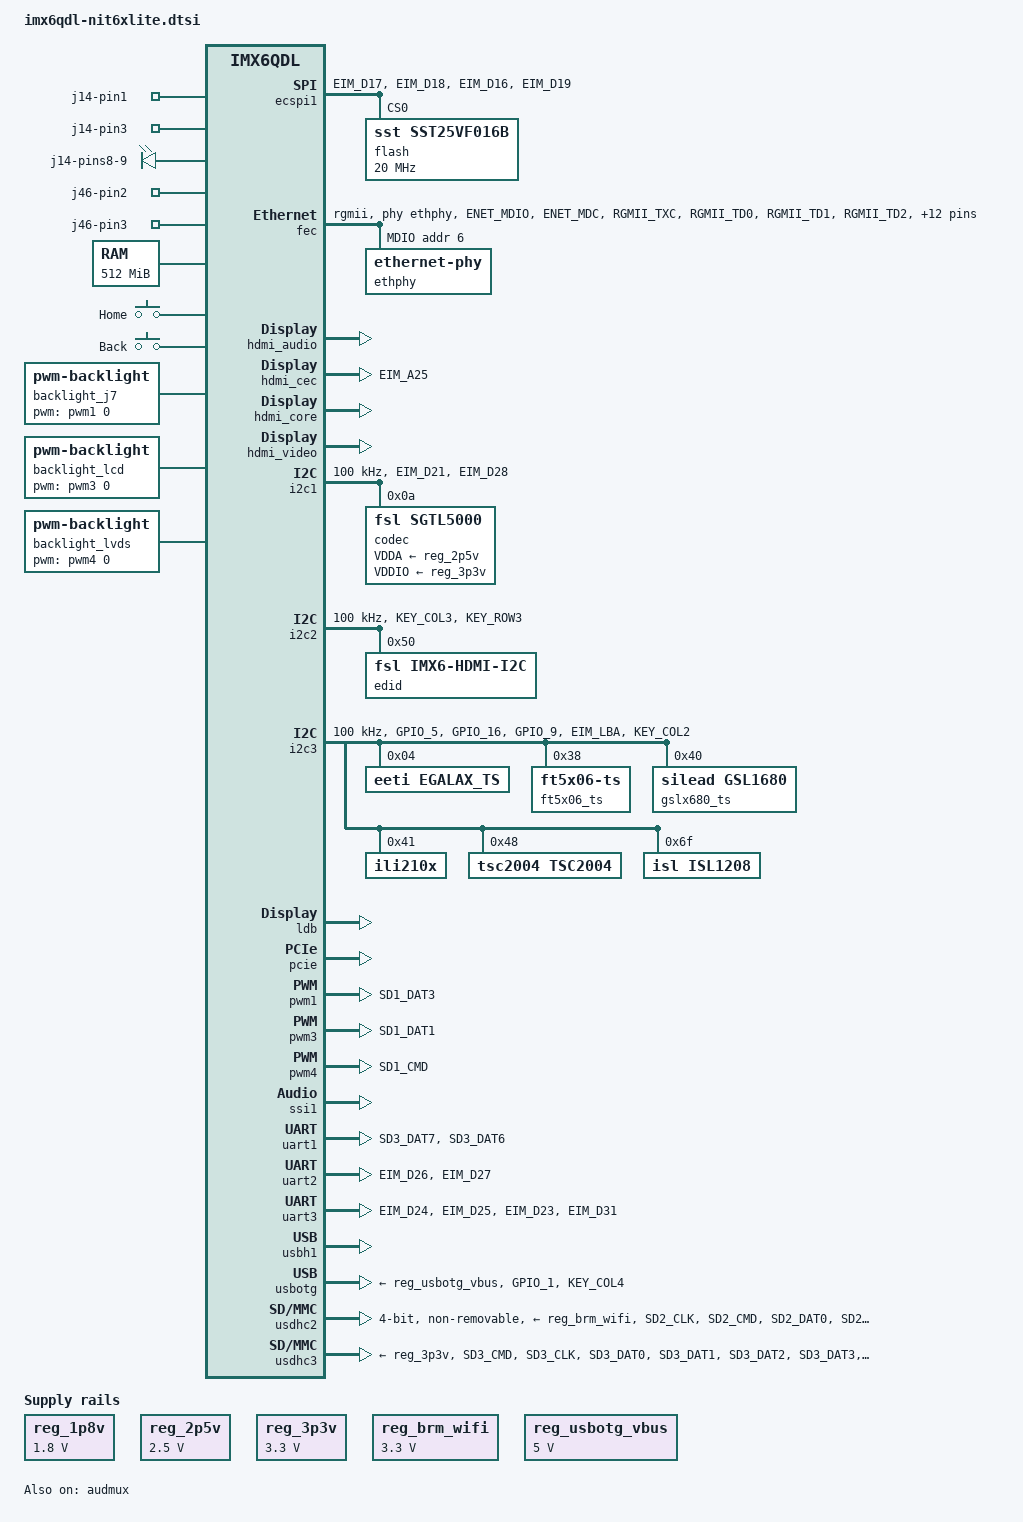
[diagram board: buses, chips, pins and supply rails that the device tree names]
/*
 * Copyright 2015 Boundary Devices, Inc.
 *
 * This file is dual-licensed: you can use it either under the terms
 * of the GPL or the X11 license, at your option. Note that this dual
 * licensing only applies to this file, and not this project as a
 * whole.
 *
 *  a) This file is free software; you can redistribute it and/or
 *     modify it under the terms of the GNU General Public License
 *     version 2 as published by the Free Software Foundation.
 *
 *     This file is distributed in the hope that it will be useful
 *     but WITHOUT ANY WARRANTY; without even the implied warranty of
 *     MERCHANTABILITY or FITNESS FOR A PARTICULAR PURPOSE.  See the
 *     GNU General Public License for more details.
 *
 * Or, alternatively
 *
 *  b) Permission is hereby granted, free of charge, to any person
 *     obtaining a copy of this software and associated documentation
 *     files (the "Software"), to deal in the Software without
 *     restriction, including without limitation the rights to use
 *     copy, modify, merge, publish, distribute, sublicense, and/or
 *     sell copies of the Software, and to permit persons to whom the
 *     Software is furnished to do so, subject to the following
 *     conditions:
 *
 *     The above copyright notice and this permission notice shall be
 *     included in all copies or substantial portions of the Software.
 *
 *     THE SOFTWARE IS PROVIDED , WITHOUT WARRANTY OF ANY KIND
 *     EXPRESS OR IMPLIED, INCLUDING BUT NOT LIMITED TO THE WARRANTIES
 *     OF MERCHANTABILITY, FITNESS FOR A PARTICULAR PURPOSE AND
 *     NONINFRINGEMENT. IN NO EVENT SHALL THE AUTHORS OR COPYRIGHT
 *     HOLDERS BE LIABLE FOR ANY CLAIM, DAMAGES OR OTHER LIABILITY
 *     WHETHER IN AN ACTION OF CONTRACT, TORT OR OTHERWISE, ARISING
 *     FROM, OUT OF OR IN CONNECTION WITH THE SOFTWARE OR THE USE OR
 *     OTHER DEALINGS IN THE SOFTWARE.
 */
#include <dt-bindings/gpio/gpio.h>
#include <dt-bindings/input/input.h>

&iomuxc {
	pinctrl-names = "default";
	pinctrl-0 = <&pinctrl_hog>;

	iomuxc_imx6q_nit6xlite: iomuxc-imx6q-nit6xlitegrp {
		status = "okay";
	};
};

&iomuxc_imx6q_nit6xlite {
	pinctrl_hog: hoggrp {
		fsl,pins = <
			MX6QDL_PAD_GPIO_4__GPIO1_IO04		0x1b0b0		/* J28 pin 7 - barcode scanner gpio */
		>;
	};

	pinctrl_audmux3: audmux3grp {
		fsl,pins = <
			MX6QDL_PAD_CSI0_DAT7__AUD3_RXD		0x130b0
			MX6QDL_PAD_CSI0_DAT4__AUD3_TXC		0x130b0
			MX6QDL_PAD_CSI0_DAT5__AUD3_TXD		0x110b0
			MX6QDL_PAD_CSI0_DAT6__AUD3_TXFS		0x130b0
		>;
	};

	pinctrl_bt_rfkill: bt_rfkillgrp {
		fsl,pins = <
#define GP_BRM_BT_WAKE		<&gpio2 2 GPIO_ACTIVE_HIGH>
			MX6QDL_PAD_NANDF_D2__GPIO2_IO02		0x1b0b0		/* BT wake(Broadcom) */
#define GP_BRM_BT_RESET		<&gpio6 8 GPIO_ACTIVE_LOW>
			MX6QDL_PAD_NANDF_ALE__GPIO6_IO08	0x0b0b0		/* BT reset(Broadcom) */
#define GP_BRM_BT_SHUTDOWN	<&gpio6 15 GPIO_ACTIVE_LOW>
			MX6QDL_PAD_NANDF_CS2__GPIO6_IO15	0x1b0b0		/* BT reg en(Broadcom) */
			MX6QDL_PAD_NANDF_CS3__GPIO6_IO16	0x100b0		/* BT host wake irq(Broadcom) */
		>;
	};

	pinctrl_ecspi1: ecspi1grp {
		fsl,pins = <
			MX6QDL_PAD_EIM_D17__ECSPI1_MISO		0x100b1
			MX6QDL_PAD_EIM_D18__ECSPI1_MOSI		0x100b1
			MX6QDL_PAD_EIM_D16__ECSPI1_SCLK		0x100b1
#define GP_ECSPI1_NOR_CS		<&gpio3 19 GPIO_ACTIVE_LOW>
			MX6QDL_PAD_EIM_D19__GPIO3_IO19		0x000b1
		>;
	};

	pinctrl_enet: enetgrp {
		fsl,pins = <
			MX6QDL_PAD_ENET_MDIO__ENET_MDIO		0x1b0b0
			MX6QDL_PAD_ENET_MDC__ENET_MDC		0x1b0b0
			MX6QDL_PAD_RGMII_TXC__RGMII_TXC		0x100b0
			MX6QDL_PAD_RGMII_TD0__RGMII_TD0		0x100b0
			MX6QDL_PAD_RGMII_TD1__RGMII_TD1		0x100b0
			MX6QDL_PAD_RGMII_TD2__RGMII_TD2		0x100b0
			MX6QDL_PAD_RGMII_TD3__RGMII_TD3		0x100b0
			MX6QDL_PAD_RGMII_TX_CTL__RGMII_TX_CTL	0x100b0
			MX6QDL_PAD_ENET_REF_CLK__ENET_TX_CLK	0x100b0
			MX6QDL_PAD_RGMII_RXC__RGMII_RXC		0x1b0b0
			MX6QDL_PAD_RGMII_RD0__RGMII_RD0		0x1b0b0
			MX6QDL_PAD_RGMII_RD1__RGMII_RD1		0x1b0b0
			MX6QDL_PAD_RGMII_RD2__RGMII_RD2		0x1b0b0
			MX6QDL_PAD_RGMII_RD3__RGMII_RD3		0x1b0b0
			MX6QDL_PAD_RGMII_RX_CTL__RGMII_RX_CTL	0x1b0b0
#define GP_ENET_PHY_RESET		<&gpio1 27 GPIO_ACTIVE_LOW>
			MX6QDL_PAD_ENET_RXD0__GPIO1_IO27	0x030b0
#define GPIRQ_ENET_PHY			<&gpio1 28 IRQ_TYPE_LEVEL_LOW>
			MX6QDL_PAD_ENET_TX_EN__GPIO1_IO28	0x1b0b0
#define GPIRQ_ENET			<&gpio1 6 IRQ_TYPE_LEVEL_HIGH>
			MX6QDL_PAD_GPIO_6__ENET_IRQ		0x000b1
		>;
	};

	pinctrl_gpio_keys: gpio_keysgrp {
		fsl,pins = <
#define GP_HOME				<&gpio7 13 IRQ_TYPE_LEVEL_LOW>
			MX6QDL_PAD_GPIO_18__GPIO7_IO13		0x1b0b0		/* J14 pin 5 - home button */
#define GP_BACK				<&gpio4 5 IRQ_TYPE_LEVEL_LOW>
			MX6QDL_PAD_GPIO_19__GPIO4_IO05		0x1b0b0		/* J14 pin 7 - back button */
		>;
	};

	pinctrl_hdmi_cec: hdmi-cecgrp {
		fsl,pins = <
			MX6QDL_PAD_EIM_A25__HDMI_TX_CEC_LINE	0x1f8b0
		>;
	};

	pinctrl_i2c1: i2c1grp {
		fsl,pins = <
			MX6QDL_PAD_EIM_D21__I2C1_SCL		0x4001b8b1
			MX6QDL_PAD_EIM_D28__I2C1_SDA		0x4001b8b1
		>;
	};

	pinctrl_i2c1_1: i2c1_1grp {
		fsl,pins = <
#define GP_I2C1_SCL	<&gpio3 21 GPIO_ACTIVE_HIGH>
			MX6QDL_PAD_EIM_D21__GPIO3_IO21		0x4001b8b1
#define GP_I2C1_SDA	<&gpio3 28 GPIO_ACTIVE_HIGH>
			MX6QDL_PAD_EIM_D28__GPIO3_IO28		0x4001b8b1
		>;
	};

	pinctrl_i2c2: i2c2grp {
		fsl,pins = <
			MX6QDL_PAD_KEY_COL3__I2C2_SCL		0x4001b8b1
			MX6QDL_PAD_KEY_ROW3__I2C2_SDA		0x4001b8b1
		>;
	};

	pinctrl_i2c2_1: i2c2_1grp {
		fsl,pins = <
#define GP_I2C2_SCL	<&gpio4 12 GPIO_ACTIVE_HIGH>
			MX6QDL_PAD_KEY_COL3__GPIO4_IO12		0x4001b8b1
#define GP_I2C2_SDA	<&gpio4 13 GPIO_ACTIVE_HIGH>
			MX6QDL_PAD_KEY_ROW3__GPIO4_IO13		0x4001b8b1
		>;
	};

	pinctrl_i2c3: i2c3grp {
		fsl,pins = <
			MX6QDL_PAD_GPIO_5__I2C3_SCL		0x4001b8b1
			MX6QDL_PAD_GPIO_16__I2C3_SDA		0x4001b8b1
#define GPIRQ_TOUCH			<&gpio1 9 IRQ_TYPE_LEVEL_LOW>
#define GP_TOUCH			<&gpio1 9 GPIO_ACTIVE_LOW>
			MX6QDL_PAD_GPIO_9__GPIO1_IO09		0x1b0b0		/* J7 pin 4 - I2C3 */
#define GPIRQ_TSC2004			<&gpio2 27 IRQ_TYPE_LEVEL_LOW>
#define GP_TSC2004			<&gpio2 27 GPIO_ACTIVE_LOW>
			MX6QDL_PAD_EIM_LBA__GPIO2_IO27		0x1b0b0		/* tsc2004(I2C3) irq */
#define GP_TSC2004_RESET		<&gpio4 10 GPIO_ACTIVE_LOW>
			MX6QDL_PAD_KEY_COL2__GPIO4_IO10		0x030b0
		>;
	};

	pinctrl_i2c3_1: i2c3_1grp {
		fsl,pins = <
#define GP_I2C3_SCL	<&gpio1 5 GPIO_ACTIVE_HIGH>
			MX6QDL_PAD_GPIO_5__GPIO1_IO05		0x4001b8b1
#define GP_I2C3_SDA	<&gpio7 11 GPIO_ACTIVE_HIGH>
			MX6QDL_PAD_GPIO_16__GPIO7_IO11		0x4001b8b1
		>;
	};

	pinctrl_i2c3_gslx680: i2c3_gslx680grp {
		fsl,pins = <
#define GPIRQ_GSLX680			<&gpio1 9 IRQ_TYPE_LEVEL_HIGH>
/*			MX6QDL_PAD_GPIO_9__GPIO1_IO09		0x130b0		*/
#define GP_GSLX680_POWER		<&gpio7 12 GPIO_ACTIVE_HIGH>
			MX6QDL_PAD_GPIO_17__GPIO7_IO12		0x1b0b0
		>;
	};

	pinctrl_ipu1_di0: ipu1_di0grp {
		fsl,pins = <
			MX6QDL_PAD_DI0_DISP_CLK__IPU1_DI0_DISP_CLK 0x10
			MX6QDL_PAD_DI0_PIN15__IPU1_DI0_PIN15       0x10		/* DRDY */
			MX6QDL_PAD_DI0_PIN2__IPU1_DI0_PIN02        0x10		/* HSYNC */
			MX6QDL_PAD_DI0_PIN3__IPU1_DI0_PIN03        0x10		/* VSYNC */
			MX6QDL_PAD_DISP0_DAT0__IPU1_DISP0_DATA00   0x10
			MX6QDL_PAD_DISP0_DAT1__IPU1_DISP0_DATA01   0x10
			MX6QDL_PAD_DISP0_DAT2__IPU1_DISP0_DATA02   0x10
			MX6QDL_PAD_DISP0_DAT3__IPU1_DISP0_DATA03   0x10
			MX6QDL_PAD_DISP0_DAT4__IPU1_DISP0_DATA04   0x10
			MX6QDL_PAD_DISP0_DAT5__IPU1_DISP0_DATA05   0x10
			MX6QDL_PAD_DISP0_DAT6__IPU1_DISP0_DATA06   0x10
			MX6QDL_PAD_DISP0_DAT7__IPU1_DISP0_DATA07   0x10
			MX6QDL_PAD_DISP0_DAT8__IPU1_DISP0_DATA08   0x10
			MX6QDL_PAD_DISP0_DAT9__IPU1_DISP0_DATA09   0x10
			MX6QDL_PAD_DISP0_DAT10__IPU1_DISP0_DATA10  0x10
			MX6QDL_PAD_DISP0_DAT11__IPU1_DISP0_DATA11  0x10
			MX6QDL_PAD_DISP0_DAT12__IPU1_DISP0_DATA12  0x10
			MX6QDL_PAD_DISP0_DAT13__IPU1_DISP0_DATA13  0x10
			MX6QDL_PAD_DISP0_DAT14__IPU1_DISP0_DATA14  0x10
			MX6QDL_PAD_DISP0_DAT15__IPU1_DISP0_DATA15  0x10
			MX6QDL_PAD_DISP0_DAT16__IPU1_DISP0_DATA16  0x10
			MX6QDL_PAD_DISP0_DAT17__IPU1_DISP0_DATA17  0x10
			MX6QDL_PAD_DISP0_DAT18__IPU1_DISP0_DATA18  0x10
			MX6QDL_PAD_DISP0_DAT19__IPU1_DISP0_DATA19  0x10
			MX6QDL_PAD_DISP0_DAT20__IPU1_DISP0_DATA20  0x10
			MX6QDL_PAD_DISP0_DAT21__IPU1_DISP0_DATA21  0x10
			MX6QDL_PAD_DISP0_DAT22__IPU1_DISP0_DATA22  0x10
			MX6QDL_PAD_DISP0_DAT23__IPU1_DISP0_DATA23  0x10
		>;
	};

	pinctrl_ipu1_lvds: ipu1_lvdsgrp {
		fsl,pins = <
			MX6QDL_PAD_GPIO_17__GPIO7_IO12		0x1b0b0		/* J6 pin 19, DISP0_CONTRAST */
		>;
	};

	pinctrl_leds: ledsgrp {
		fsl,pins = <
#define GP_LED_GREEN			<&gpio1 2 GPIO_ACTIVE_LOW>
			MX6QDL_PAD_GPIO_2__GPIO1_IO02		0x0b0b0		/* J14 pin 1 - GLED */
#define GP_LED_RED			<&gpio1 3 GPIO_ACTIVE_LOW>
			MX6QDL_PAD_GPIO_3__GPIO1_IO03		0x0b0b0		/* J14 pin 3 - RLED */
#define GP_J14_POWER_ON			<&gpio3 29 GPIO_ACTIVE_LOW>
			MX6QDL_PAD_EIM_D29__GPIO3_IO29		0x030b0		/* J14 pin 8/9(dry contact) */
#define GP_J46_PIN2_I			<&gpio1 7 GPIO_ACTIVE_LOW>
			MX6QDL_PAD_GPIO_7__GPIO1_IO07		0x0b0b0		/* J46 pin 2 - gp(inverted) */
#define GP_J46_PIN3_I			<&gpio1 8 GPIO_ACTIVE_LOW>
			MX6QDL_PAD_GPIO_8__GPIO1_IO08		0x0b0b0		/* J46 pin 3 - gp(inverted) */
		>;
	};

	pinctrl_pwm1: pwm1grp {
		fsl,pins = <
			MX6QDL_PAD_SD1_DAT3__PWM1_OUT		0x1b0b1
		>;
	};

	pinctrl_pwm3: pwm3grp {
		fsl,pins = <
			MX6QDL_PAD_SD1_DAT1__PWM3_OUT		0x1b0b1
		>;
	};

	pinctrl_pwm4: pwm4grp {
		fsl,pins = <
			MX6QDL_PAD_SD1_CMD__PWM4_OUT		0x1b0b1
		>;
	};

	pinctrl_reg_brm_wifi: reg_brm_wifigrp {
		fsl,pins = <
#define GP_BRM_WL_EN		<&gpio6 7 GPIO_ACTIVE_HIGH>
			MX6QDL_PAD_NANDF_CLE__GPIO6_IO07	0x030b0		/* Wifi reg en(Broadcom) */
			MX6QDL_PAD_NANDF_D0__GPIO2_IO00		0x1b0b0		/* J10 pin 14 - Reserved(Broadcom) */
			MX6QDL_PAD_NANDF_D1__GPIO2_IO01		0x1b0b0		/* J10 pin 15 - Reserved(Broadcom) */
			MX6QDL_PAD_NANDF_D3__GPIO2_IO03		0x1b0b0		/* J10 pin 17 - Reserved(Broadcom) */
			MX6QDL_PAD_NANDF_D4__GPIO2_IO04		0x1b0b0		/* J10 pin 18 - Reserved(Broadcom) */
			MX6QDL_PAD_NANDF_WP_B__GPIO6_IO09	0x0b0b0		/* Clk req irq(Broadcom) */
			MX6QDL_PAD_NANDF_CS1__GPIO6_IO14	0x1b0b0		/* wake output(Broadcom) */
			MX6QDL_PAD_SD1_CLK__OSC32K_32K_OUT	0x000b0		/* Broadcom slow clock */
		>;
	};

	pinctrl_rtc: rtcgrp {
		fsl,pins = <
#define GPIRQ_RTC_ISL1208			<&gpio2 26 IRQ_TYPE_LEVEL_LOW>
			MX6QDL_PAD_EIM_RW__GPIO2_IO26		0x1b0b0
		>;
	};

	pinctrl_sgtl5000: sgtl5000grp {
		fsl,pins = <
			MX6QDL_PAD_GPIO_0__CCM_CLKO1		0x000b0		/* sys_mclk */
		>;
	};

	pinctrl_uart1: uart1grp {
		fsl,pins = <
			MX6QDL_PAD_SD3_DAT7__UART1_TX_DATA	0x1b0b1
			MX6QDL_PAD_SD3_DAT6__UART1_RX_DATA	0x1b0b1
		>;
	};

	pinctrl_uart2: uart2grp {
		fsl,pins = <
			MX6QDL_PAD_EIM_D26__UART2_TX_DATA	0x1b0b1
			MX6QDL_PAD_EIM_D27__UART2_RX_DATA	0x1b0b1
		>;
	};

	pinctrl_uart3: uart3grp {
		fsl,pins = <
			MX6QDL_PAD_EIM_D24__UART3_TX_DATA	0x1b0b1
			MX6QDL_PAD_EIM_D25__UART3_RX_DATA	0x1b0b1
			MX6QDL_PAD_EIM_D23__UART3_CTS_B		0x1b0b1
			MX6QDL_PAD_EIM_D31__UART3_RTS_B		0x1b0b1
		>;
	};

	pinctrl_usbotg: usbotggrp {
		fsl,pins = <
			MX6QDL_PAD_GPIO_1__USB_OTG_ID		0x17059
			MX6QDL_PAD_KEY_COL4__USB_OTG_OC		0x1b0b0
		>;
	};

	pinctrl_usbotg_vbus: usbotg_vbusgrp {
		fsl,pins = <
			/* power enable, high active */
#define GP_USB_OTG_PWR		<&gpio3 22 GPIO_ACTIVE_HIGH>
			MX6QDL_PAD_EIM_D22__GPIO3_IO22		0x030b0
		>;
	};

	pinctrl_usdhc2_50mhz: usdhc2_50mhzgrp {
		fsl,pins = <
			MX6QDL_PAD_SD2_CLK__SD2_CLK		0x10071
			MX6QDL_PAD_SD2_CMD__SD2_CMD		0x17071
			MX6QDL_PAD_SD2_DAT0__SD2_DATA0		0x17071
			MX6QDL_PAD_SD2_DAT1__SD2_DATA1		0x17071
			MX6QDL_PAD_SD2_DAT2__SD2_DATA2		0x17071
			MX6QDL_PAD_SD2_DAT3__SD2_DATA3		0x17071
		>;
	};

	/* USDHC3 - micro sd */
	pinctrl_usdhc3_50mhz: usdhc3_50mhzgrp {
		fsl,pins = <
			MX6QDL_PAD_SD3_CMD__SD3_CMD		0x17059
			MX6QDL_PAD_SD3_CLK__SD3_CLK		0x10059
			MX6QDL_PAD_SD3_DAT0__SD3_DATA0		0x17059
			MX6QDL_PAD_SD3_DAT1__SD3_DATA1		0x17059
			MX6QDL_PAD_SD3_DAT2__SD3_DATA2		0x17059
			MX6QDL_PAD_SD3_DAT3__SD3_DATA3		0x17059
#define GP_SD3_CD			<&gpio7 0 GPIO_ACTIVE_LOW>
			MX6QDL_PAD_SD3_DAT5__GPIO7_IO00		0x1b0b0
		>;
	};

	pinctrl_usdhc3_100mhz: usdhc3_100mhzgrp {
		fsl,pins = <
			MX6QDL_PAD_SD3_CLK__SD3_CLK		0x100b9
			MX6QDL_PAD_SD3_CMD__SD3_CMD		0x170b9
			MX6QDL_PAD_SD3_DAT0__SD3_DATA0		0x170b9
			MX6QDL_PAD_SD3_DAT1__SD3_DATA1		0x170b9
			MX6QDL_PAD_SD3_DAT2__SD3_DATA2		0x170b9
			MX6QDL_PAD_SD3_DAT3__SD3_DATA3		0x170b9
		>;
	};

	pinctrl_usdhc3_200mhz: usdhc3_200mhzgrp {
		fsl,pins = <
			MX6QDL_PAD_SD3_CLK__SD3_CLK		0x100f9
			MX6QDL_PAD_SD3_CMD__SD3_CMD		0x170f9
			MX6QDL_PAD_SD3_DAT0__SD3_DATA0		0x170f9
			MX6QDL_PAD_SD3_DAT1__SD3_DATA1		0x170f9
			MX6QDL_PAD_SD3_DAT2__SD3_DATA2		0x170f9
			MX6QDL_PAD_SD3_DAT3__SD3_DATA3		0x170f9
		>;
	};
};

/ {
	aliases {
		backlight_lcd = &backlight_lcd;
		backlight_lvds = &backlight_lvds;
		fb_hdmi = &fb_hdmi;
		fb_lcd = &fb_lcd;
		fb_lvds = &fb_lvds;
		lcd = &lcd;
		ldb = &ldb;
		mmc0 = &usdhc3;
		mmc1 = &usdhc2;
		mxcfb0 = &fb_lvds;
		mxcfb1 = &fb_lcd;
		mxcfb2 = &fb_hdmi;
		pwm_lcd = &pwm3;
		pwm_lvds = &pwm4;
		t_lvds = &t_lvds;
	};

	bt_rfkill {
		compatible = "net,rfkill-gpio";
		pinctrl-names = "default";
		pinctrl-0 = <&pinctrl_bt_rfkill>;
		name = "bt_rfkill";
		type = <2>;     /* bluetooth */
		reset-gpios = GP_BRM_BT_RESET;
		shutdown-gpios = GP_BRM_BT_SHUTDOWN;
	};

	leds {
		compatible = "gpio-leds";
		pinctrl-names = "default";
		pinctrl-0 = <&pinctrl_leds>;
		j14-pin1 {
			gpios = GP_LED_GREEN;
			retain-state-suspended;
			default-state = "off";
		};

		j14-pin3 {
			gpios = GP_LED_RED;
			retain-state-suspended;
			default-state = "off";
		};

		j14-pins8-9 {
			gpios = GP_J14_POWER_ON;
			retain-state-suspended;
			default-state = "off";
		};

		j46-pin2 {
			gpios = GP_J46_PIN2_I;
			retain-state-suspended;
			default-state = "off";
		};

		j46-pin3 {
			gpios = GP_J46_PIN3_I;
			retain-state-suspended;
			default-state = "off";
		};
	};

	memory {
		reg = <0x10000000 0x20000000>;
	};

	regulators {
		compatible = "simple-bus";
		#address-cells = <1>;
		#size-cells = <0>;

		reg_1p8v: regulator@0 {
			compatible = "regulator-fixed";
			reg = <0>;
			regulator-name = "1P8V";
			regulator-min-microvolt = <1800000>;
			regulator-max-microvolt = <1800000>;
			regulator-always-on;
		};

		reg_2p5v: regulator@1 {
			compatible = "regulator-fixed";
			reg = <1>;
			regulator-name = "2P5V";
			regulator-min-microvolt = <2500000>;
			regulator-max-microvolt = <2500000>;
			regulator-always-on;
		};

		reg_3p3v: regulator@2 {
			compatible = "regulator-fixed";
			reg = <2>;
			regulator-name = "3P3V";
			regulator-min-microvolt = <3300000>;
			regulator-max-microvolt = <3300000>;
			regulator-always-on;
		};

		reg_brm_wifi: regulator@3 {
			compatible = "regulator-fixed";
			reg = <3>;
			pinctrl-names = "default";
			pinctrl-0 = <&pinctrl_reg_brm_wifi>;
			regulator-name = "reg_brm_wifi";
			regulator-min-microvolt = <3300000>;
			regulator-max-microvolt = <3300000>;
			gpio = GP_BRM_WL_EN;
			startup-delay-us = <70000>;
			enable-active-high;
		};

		reg_usbotg_vbus: regulator@4 {
			compatible = "regulator-fixed";
			reg = <4>;
			pinctrl-names = "default";
			pinctrl-0 = <&pinctrl_usbotg_vbus>;
			regulator-name = "usbotg_vbus";
			regulator-min-microvolt = <5000000>;
			regulator-max-microvolt = <5000000>;
			gpio = GP_USB_OTG_PWR;
			enable-active-high;
		};
	};

	gpio-keys {
		compatible = "gpio-keys";
		pinctrl-names = "default";
		pinctrl-0 = <&pinctrl_gpio_keys>;
		home {
			label = "Home";
			gpios = GP_HOME;
			linux,code = <KEY_HOMEPAGE>;
		};

		back {
			label = "Back";
			gpios = GP_BACK;
			linux,code = <KEY_BACK>;
		};
	};

	sound_sgtl5000: sound_sgtl5000 {
		compatible = "fsl,imx6dl-nit6xlite-sgtl5000",
			     "fsl,imx-audio-sgtl5000";
		model = "sgtl5000-audio";
		ssi-controller = <&ssi1>;
		audio-codec = <&codec>;
		audio-routing =
			"MIC_IN", "Mic Jack",
			"Mic Jack", "Mic Bias",
			"Headphone Jack", "HP_OUT";
		mux-int-port = <1>;
		mux-ext-port = <3>;
	};

	sound-hdmi {
		compatible = "fsl,imx6dl-audio-hdmi",
			     "fsl,imx-audio-hdmi";
		model = "imx-audio-hdmi";
		hdmi-controller = <&hdmi_audio>;
	};

	fb_lvds: fb@0 {
		compatible = "fsl,mxc_sdc_fb";
		disp_dev = "ldb";
		interface_pix_fmt = "RGB666";
		default_bpp = <16>;
		int_clk = <0>;
		late_init = <0>;
		status = "disabled";
	};

	fb_lcd: fb@1 {
		compatible = "fsl,mxc_sdc_fb";
		disp_dev = "lcd";
		interface_pix_fmt = "RGB24";
		mode_str = "okaya_480x272";
		default_bpp = <16>;
		int_clk = <0>;
		late_init = <0>;
		status = "disabled";
	};

	fb_hdmi: fb@2 {
		compatible = "fsl,mxc_sdc_fb";
		disp_dev = "hdmi";
		interface_pix_fmt = "RGB24";
		mode_str ="1280x720M@60";
		default_bpp = <32>;
		int_clk = <0>;
		late_init = <0>;
		status = "disabled";
	};

	lcd: lcd@0 {
		compatible = "fsl,lcd";
		ipu_id = <0>;
		disp_id = <0>;
		default_ifmt = "RGB24";
		pinctrl-names = "default";
		pinctrl-0 = <&pinctrl_ipu1_di0>;
		status = "okay";
	};

	backlight_j7 {
		brightness-levels = <0 10 20 30 40 50 60 70 80 90 100>;
		compatible = "pwm-backlight";
		default-brightness-level = <10>;
		pwms = <&pwm1 0 100000>;
	};

	backlight_lcd: backlight_lcd {
		brightness-levels = <0 10 20 30 40 50 60 70 80 90 100>;
		compatible = "pwm-backlight";
		default-brightness-level = <10>;
		display = <&fb_lcd>;
		pwms = <&pwm3 0 5000000>;
	};

	backlight_lvds: backlight_lvds {
		brightness-levels = <0 10 20 30 40 50 60 70 80 90 100>;
		compatible = "pwm-backlight";
		default-brightness-level = <10>;
		display = <&fb_lvds>;
		pwms = <&pwm4 0 5000000>;
	};

	v4l2_out {
		compatible = "fsl,mxc_v4l2_output";
		status = "okay";
	};
};

&audmux {
	pinctrl-names = "default";
	pinctrl-0 = <&pinctrl_audmux3>;
	status = "okay";
};

&ecspi1 {
	fsl,spi-num-chipselects = <1>;
	cs-gpios = GP_ECSPI1_NOR_CS;
	pinctrl-names = "default";
	pinctrl-0 = <&pinctrl_ecspi1>;
	status = "okay";

	flash: m25p80@0 {
		compatible = "sst,sst25vf016b";
		spi-max-frequency = <20000000>;
		reg = <0>;
		#address-cells = <1>;
		#size-cells = <1>;
		mtd@00000000 {
			label = "U-Boot";
			reg = <0x0 0xC0000>;
		};

		mtd@000C0000 {
			label = "env";
			reg = <0xC0000 0x2000>;
		};
		mtd@000C2000 {
			label = "splash";
			reg = <0xC2000 0x13e000>;
		};
	};
};

&fec {
	interrupts-extended = GPIRQ_ENET,
			      <&gpc 0 119 IRQ_TYPE_LEVEL_HIGH>;
	phy-handle = <&ethphy>;
	phy-mode = "rgmii";
#if 0
	phy-reset-gpios = GP_ENET_PHY_RESET;
#endif
	pinctrl-names = "default";
	pinctrl-0 = <&pinctrl_enet>;
	status = "okay";

	mdio {
		#address-cells = <0>;
		#size-cells = <1>;

		ethphy: ethernet-phy@6 {
			reg = <6>;
			interrupts-extended = GPIRQ_ENET_PHY;
		};
	};
};

&hdmi_audio {
	status = "okay";
};

&hdmi_cec {
	pinctrl-names = "default";
	pinctrl-0 = <&pinctrl_hdmi_cec>;
	status = "okay";
};

&hdmi_core {
	ipu_id = <0>;
	disp_id = <1>;
	status = "okay";
};

&hdmi_video {
	fsl,phy_reg_vlev = <0x0294>;
	fsl,phy_reg_cksymtx = <0x800d>;
	status = "okay";
};

&i2c1 {
	clock-frequency = <100000>;
	pinctrl-names = "default", "gpio";
	pinctrl-0 = <&pinctrl_i2c1>;
	pinctrl-1 = <&pinctrl_i2c1_1>;
	scl-gpios = GP_I2C1_SCL;
	sda-gpios = GP_I2C1_SDA;
	status = "okay";

	codec: sgtl5000@0a {
		compatible = "fsl,sgtl5000";
		pinctrl-names = "default";
		pinctrl-0 = <&pinctrl_sgtl5000>;
		reg = <0x0a>;
		clocks = <&clks IMX6QDL_CLK_CKO>;
		VDDA-supply = <&reg_2p5v>;
		VDDIO-supply = <&reg_3p3v>;
	};
};

&i2c2 {
	clock-frequency = <100000>;
	pinctrl-names = "default", "gpio";
	pinctrl-0 = <&pinctrl_i2c2>;
	pinctrl-1 = <&pinctrl_i2c2_1>;
	scl-gpios = GP_I2C2_SCL;
	sda-gpios = GP_I2C2_SDA;
	status = "okay";

	edid@50 {
		compatible = "fsl,imx6-hdmi-i2c";
		reg = <0x50>;
	};
};

&i2c3 {
	clock-frequency = <100000>;
	pinctrl-names = "default", "gpio";
	pinctrl-0 = <&pinctrl_i2c3>;
	pinctrl-1 = <&pinctrl_i2c3_1>;
	scl-gpios = GP_I2C3_SCL;
	sda-gpios = GP_I2C3_SDA;
	status = "okay";

	egalax_ts@04 {
		compatible = "eeti,egalax_ts";
		reg = <0x04>;
		interrupts-extended = GPIRQ_TOUCH;
		wakeup-gpios = GP_TOUCH;
	};
	ft5x06_ts@38 {
		compatible = "ft5x06-ts";
		reg = <0x38>;
		interrupts-extended = GPIRQ_TOUCH;
		wakeup-gpios = GP_TOUCH;
	};

	gslx680_ts@40 {
		compatible = "silead,gsl1680";
		pinctrl-names = "default";
		pinctrl-0 = <&pinctrl_i2c3_gslx680>;
		reg = <0x40>;
		interrupts-extended = GPIRQ_GSLX680;
		power-gpios = GP_GSLX680_POWER;
		touchscreen-size-x = <480>;	/* swapped below */
		touchscreen-size-y = <800>;
		touchscreen-swapped-x-y;
	};

	ili210x@41 {
		compatible = "ili210x";
		reg = <0x41>;
		interrupts-extended = GPIRQ_TOUCH;
		wakeup-gpios = GP_TOUCH;
	};
	tsc2004@48 {
		compatible = "tsc2004,tsc2004";
		reg = <0x48>;
		interrupts-extended = GPIRQ_TSC2004;
		wakeup-gpios = GP_TSC2004;
		reset-gpios = GP_TSC2004_RESET;
	};
	isl1208@6f {
		compatible = "isl,isl1208";
		pinctrl-names = "default";
		pinctrl-0 = <&pinctrl_rtc>;
		reg = <0x6f>;
		interrupts-extended = GPIRQ_RTC_ISL1208;
	};
};

&ldb {
	status = "okay";

	lvds-channel@0 {
		crtc = "ipu1-di0";
		fsl,data-mapping = "spwg";
		fsl,data-width = <18>;
		status = "okay";
		primary;

		display-timings {
			t_lvds: t_lvds_default {
				/* lg1280x800 values may be changed in bootscript */
				clock-frequency = <72000000>;
				hactive = <1280>;
				vactive = <800>;
				hback-porch = <48>;
				hfront-porch = <80>;
				vback-porch = <15>;
				vfront-porch = <2>;
				hsync-len = <32>;
				vsync-len = <6>;
			};
			okaya1024x600: okaya7x0WP {
				clock-frequency = <52000000>;
				hactive = <1024>;
				vactive = <600>;
				hback-porch = <220>;
				hfront-porch = <40>;
				vback-porch = <7>;
				vfront-porch = <21>;
				hsync-len = <60>;
				vsync-len = <10>;
			};
			hannstar: hsd100pxn1 {
				clock-frequency = <65000000>;
				hactive = <1024>;
				vactive = <768>;
				hback-porch = <220>;
				hfront-porch = <40>;
				vback-porch = <21>;
				vfront-porch = <7>;
				hsync-len = <60>;
				vsync-len = <10>;
			};
		};
	};
};

&pcie {
	status = "okay";
};

/* I2c3(J7) pwm */
&pwm1 {
	pinctrl-names = "default";
	pinctrl-0 = <&pinctrl_pwm1>;
	status = "okay";
};

/* LCD(J33) backlight */
&pwm3 {
	pinctrl-names = "default";
	pinctrl-0 = <&pinctrl_pwm3>;
	status = "okay";
};

/* LVDS(J6) backlight */
&pwm4 {
	pinctrl-names = "default";
	pinctrl-0 = <&pinctrl_pwm4>;
	status = "okay";
};

&ssi1 {
	fsl,mode = "i2s-slave";
	status = "okay";
};

&uart1 {
	pinctrl-names = "default";
	pinctrl-0 = <&pinctrl_uart1>;
	status = "okay";
};

&uart2 {
	pinctrl-names = "default";
	pinctrl-0 = <&pinctrl_uart2>;
	status = "okay";
};

&uart3 {
	pinctrl-names = "default";
	pinctrl-0 = <&pinctrl_uart3>;
	uart-has-rtscts;
	status = "okay";
};

&usbh1 {
	status = "okay";
};

&usbotg {
	vbus-supply = <&reg_usbotg_vbus>;
	pinctrl-names = "default";
	pinctrl-0 = <&pinctrl_usbotg>;
	disable-over-current;
	status = "okay";
};

&usdhc2 {	/* uSDHC2, Broadcom */
	pinctrl-names = "default";
	pinctrl-0 = <&pinctrl_usdhc2_50mhz>;
	bus-width = <4>;
	non-removable;
	vmmc-supply = <&reg_brm_wifi>;
	vqmmc-1-8-v;
	cap-power-off-card;
	keep-power-in-suspend;
	status = "okay";
};

&usdhc3 {
	pinctrl-names = "default";
	pinctrl-0 = <&pinctrl_usdhc3_50mhz>;
	cd-gpios = GP_SD3_CD;
	vmmc-supply = <&reg_3p3v>;
	status = "okay";
};
